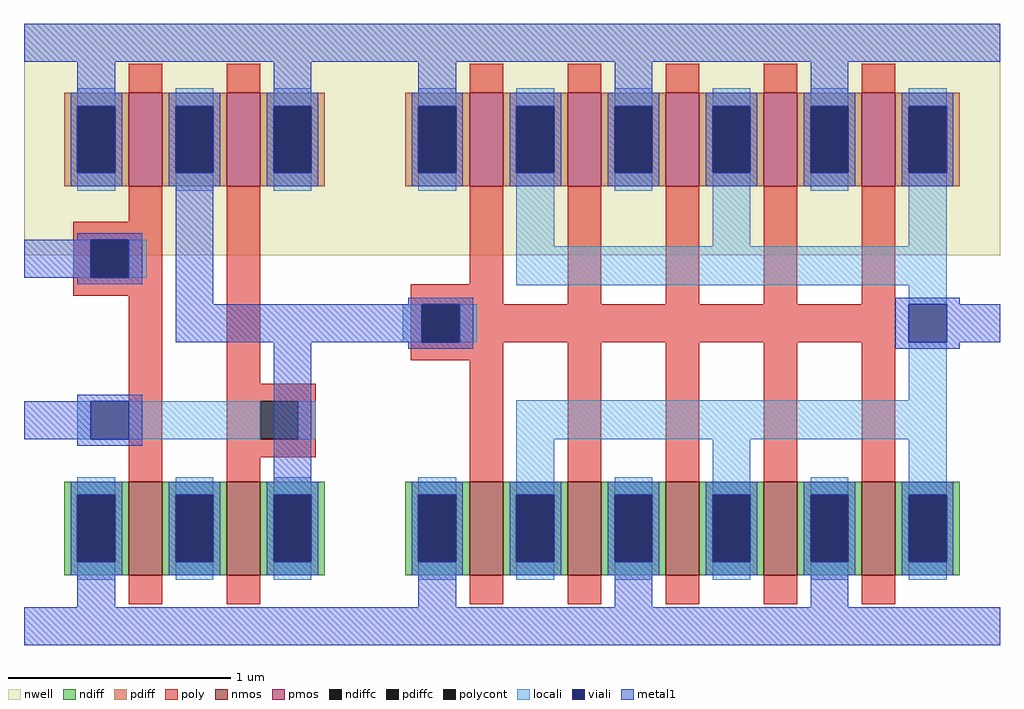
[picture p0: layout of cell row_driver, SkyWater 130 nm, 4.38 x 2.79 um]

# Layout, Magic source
magic
tech sky130A
magscale 1 2
<< poly >>
rect 400 324 430 386
rect 347 306 430 324
rect 488 306 518 386
rect 576 306 606 386
rect 664 306 694 386
rect 752 306 782 386
rect 347 272 357 306
rect 391 272 782 306
rect 347 256 430 272
rect 400 173 430 256
rect 488 173 518 272
rect 576 173 606 272
rect 664 173 694 272
rect 752 173 782 272
<< polycont >>
rect 357 272 391 306
<< locali >>
rect 442 358 476 408
rect 618 358 652 408
rect 794 358 828 408
rect 442 323 828 358
rect 794 306 828 323
rect 340 272 357 306
rect 391 272 407 306
rect 794 220 828 272
rect 442 185 828 220
rect 442 151 476 185
rect 618 151 652 185
rect 794 151 828 185
<< viali >>
rect 357 272 391 306
rect 794 272 828 306
<< metal1 >>
rect 306 524 876 558
rect 354 496 388 524
rect 530 496 564 524
rect 706 496 740 524
rect 345 306 403 312
rect 306 272 357 306
rect 391 272 403 306
rect 345 266 403 272
rect 782 306 840 312
rect 782 272 794 306
rect 828 272 876 306
rect 782 266 840 272
rect 354 34 388 63
rect 530 34 564 63
rect 706 34 740 63
rect 306 0 876 34
use nand2  nand2_0 ~/Desktop/FabRAM/FE/sram130/nand2
transform 1 0 0 0 1 -91
box 0 91 306 649
use sky130_fd_pr__nfet_01v8_A6LSUL  sky130_fd_pr__nfet_01v8_A6LSUL_0 ~/Desktop/FabRAM/FE/sram130/common
transform 1 0 767 0 1 105
box -73 -68 73 68
use sky130_fd_pr__nfet_01v8_A6LSUL  sky130_fd_pr__nfet_01v8_A6LSUL_1
transform 1 0 415 0 1 105
box -73 -68 73 68
use sky130_fd_pr__nfet_01v8_A6LSUL  sky130_fd_pr__nfet_01v8_A6LSUL_2
transform -1 0 503 0 1 105
box -73 -68 73 68
use sky130_fd_pr__nfet_01v8_A6LSUL  sky130_fd_pr__nfet_01v8_A6LSUL_3
transform 1 0 591 0 1 105
box -73 -68 73 68
use sky130_fd_pr__nfet_01v8_A6LSUL  sky130_fd_pr__nfet_01v8_A6LSUL_4
transform -1 0 679 0 1 105
box -73 -68 73 68
use sky130_fd_pr__pfet_01v8_4Y88KP  sky130_fd_pr__pfet_01v8_4Y88KP_0 ~/Desktop/FabRAM/FE/sram130/common
transform -1 0 679 0 1 454
box -109 -104 109 104
use sky130_fd_pr__pfet_01v8_4Y88KP  sky130_fd_pr__pfet_01v8_4Y88KP_1
transform 1 0 415 0 1 454
box -109 -104 109 104
use sky130_fd_pr__pfet_01v8_4Y88KP  sky130_fd_pr__pfet_01v8_4Y88KP_2
transform -1 0 503 0 1 454
box -109 -104 109 104
use sky130_fd_pr__pfet_01v8_4Y88KP  sky130_fd_pr__pfet_01v8_4Y88KP_3
transform 1 0 591 0 1 454
box -109 -104 109 104
use sky130_fd_pr__pfet_01v8_4Y88KP  sky130_fd_pr__pfet_01v8_4Y88KP_4
transform 1 0 767 0 1 454
box -109 -104 109 104
<< end >>

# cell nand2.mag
magic
tech sky130A
magscale 1 2
<< poly >>
rect 94 471 124 477
rect 44 455 124 471
rect 44 421 60 455
rect 94 421 124 455
rect 44 405 124 421
rect 94 264 124 405
rect 182 326 212 477
rect 182 310 262 326
rect 182 276 212 310
rect 246 276 262 310
rect 182 264 262 276
rect 212 260 262 264
<< polycont >>
rect 60 421 94 455
rect 212 276 246 310
<< locali >>
rect 44 421 60 455
rect 94 421 110 455
rect 48 276 60 310
rect 94 276 212 310
rect 246 276 262 310
<< viali >>
rect 60 421 94 455
rect 60 276 94 310
<< metal1 >>
rect 0 615 306 649
rect 48 587 82 615
rect 224 587 258 615
rect 48 455 106 461
rect 0 421 60 455
rect 94 421 106 455
rect 48 415 106 421
rect 136 397 170 503
rect 136 363 306 397
rect 48 310 106 316
rect 0 276 60 310
rect 94 276 106 310
rect 48 270 106 276
rect 224 238 258 363
rect 48 125 82 154
rect 0 91 306 125
use sky130_fd_pr__nfet_01v8_A6LSUL  m1 ~/Desktop/FabRAM/FE/sram130/common
transform 1 0 109 0 1 196
box -73 -68 73 68
use sky130_fd_pr__nfet_01v8_A6LSUL  m2
transform 1 0 197 0 1 196
box -73 -68 73 68
use sky130_fd_pr__pfet_01v8_4Y88KP  m3 ~/Desktop/FabRAM/FE/sram130/common
transform 1 0 109 0 1 545
box -109 -104 109 104
use sky130_fd_pr__pfet_01v8_4Y88KP  m4
transform -1 0 197 0 1 545
box -109 -104 109 104
<< labels >>
rlabel metal1 0 615 34 649 0 VDD
rlabel metal1 0 421 34 455 0 A
rlabel metal1 0 276 34 310 0 B
rlabel metal1 0 91 34 125 0 VSS
rlabel metal1 272 363 306 397 0 Y
<< end >>

# cell sky130_fd_pr__nfet_01v8_A6LSUL: kit device sky130_fd_pr__nfet_01v8, w 0.420 l 0.150 m 1 nf 1 diffcov 100 polycov 100 guard 0 glc 0 grc 0 gtc 0 gbc 0 tbcov 100 rlcov 100 topc 0 botc 0 poverlap 0 doverlap 0 lmin 0.15 wmin 0.42 compatible {sky130_fd_pr__nfet_01v8 sky130_fd_pr__nfet_01v8_lvt sky130_fd_bs_flash__special_sonosfet_star sky130_fd_pr__nfet_g5v0d10v5 sky130_fd_pr__nfet_05v0_nvt sky130_fd_pr__nfet_03v3_nvt} full_metal 0 viasrc 100 viadrn 100 viagate 100 viagb 0 viagr 0 viagl 0 viagt 0

# cell sky130_fd_pr__pfet_01v8_4Y88KP: kit device sky130_fd_pr__pfet_01v8, w 0.42 l 0.15 m 1 nf 1 diffcov 100 polycov 100 guard 0 glc 0 grc 0 gtc 0 gbc 0 tbcov 100 rlcov 100 topc 0 botc 0 poverlap 0 doverlap 0 lmin 0.15 wmin 0.42 compatible {sky130_fd_pr__pfet_01v8 sky130_fd_pr__pfet_01v8_lvt sky130_fd_pr__pfet_01v8_hvt sky130_fd_pr__pfet_g5v0d10v5} full_metal 0 viasrc 100 viadrn 100 viagate 100 viagb 0 viagr 0 viagl 0 viagt 0
